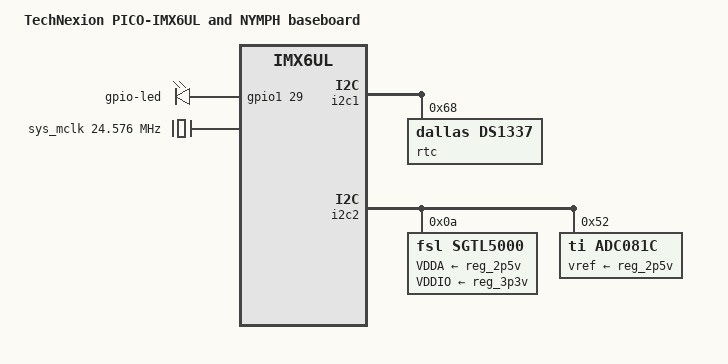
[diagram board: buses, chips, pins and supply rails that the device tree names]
// SPDX-License-Identifier: (GPL-2.0 OR MIT)
//
// Copyright 2015 Technexion Ltd.
//
// Author: Wig Cheng  <wig.cheng@technexion.com>
//	   Richard Hu <richard.hu@technexion.com>
//	   Tapani Utriainen <tapani@technexion.com>
/dts-v1/;

#include "imx6ul-pico.dtsi"
/ {
	model = "TechNexion PICO-IMX6UL and NYMPH baseboard";
	compatible = "technexion,imx6ul-pico-nymph", "fsl,imx6ul";

	leds {
		compatible = "gpio-leds";
		pinctrl-names = "default";
		pinctrl-0 = <&pinctrl_gpio_leds>;

		led {
			label = "gpio-led";
			gpios = <&gpio1 29 GPIO_ACTIVE_HIGH>;
		};
	};

	sound {
		compatible = "fsl,imx-audio-sgtl5000";
		model = "imx6ul-sgtl5000";
		audio-cpu = <&sai1>;
		audio-codec = <&sgtl5000>;
		audio-routing =
			"LINE_IN", "Line In Jack",
			"MIC_IN", "Mic Jack",
			"Mic Jack", "Mic Bias",
			"Headphone Jack", "HP_OUT";
	};

	sys_mclk: clock-sys-mclk {
		compatible = "fixed-clock";
		#clock-cells = <0>;
		clock-frequency = <24576000>;
	};
};

&i2c1 {
	clock_frequency = <100000>;
	pinctrl-names = "default";
	pinctrl-0 = <&pinctrl_i2c1>;
	status = "okay";

	rtc@68 {
		compatible = "dallas,ds1337";
		reg = <0x68>;
	};
};

&i2c2 {
	clock_frequency = <100000>;
	pinctrl-names = "default";
	pinctrl-0 = <&pinctrl_i2c2>;
	status = "okay";

	sgtl5000: codec@a {
		reg = <0x0a>;
		compatible = "fsl,sgtl5000";
		clocks = <&sys_mclk>;
		VDDA-supply = <&reg_2p5v>;
		VDDIO-supply = <&reg_3p3v>;
	};

	adc081c: adc@52 {
		compatible = "ti,adc081c";
		reg = <0x52>;
		vref-supply = <&reg_2p5v>;
	};
};

&iomuxc {
	pinctrl_gpio_leds: gpioledsgrp {
		fsl,pins = <
			MX6UL_PAD_UART4_RX_DATA__GPIO1_IO29	0x10b0
		>;
	};
};
